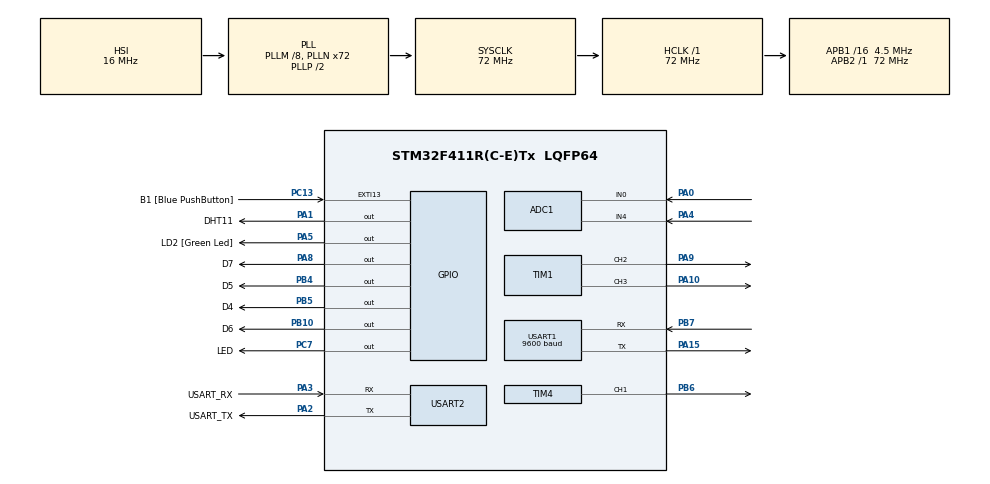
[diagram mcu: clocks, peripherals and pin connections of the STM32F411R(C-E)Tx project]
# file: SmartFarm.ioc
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ADC1.Channel-0\#ChannelRegularConversion=ADC_CHANNEL_0
ADC1.Channel-1\#ChannelRegularConversion=ADC_CHANNEL_4
ADC1.DiscontinuousConvMode=ENABLE
ADC1.NbrOfConversion=2
ADC1.NbrOfConversionFlag=1
ADC1.Rank-0\#ChannelRegularConversion=1
ADC1.Rank-1\#ChannelRegularConversion=2
ADC1.SamplingTime-0\#ChannelRegularConversion=ADC_SAMPLETIME_3CYCLES
ADC1.SamplingTime-1\#ChannelRegularConversion=ADC_SAMPLETIME_3CYCLES
ADC1.ScanConvMode=ENABLE
ADC1.master=1
Mcu.Family=STM32F4
Mcu.Name=STM32F411R(C-E)Tx
Mcu.Package=LQFP64
NVIC.PriorityGroup=NVIC_PRIORITYGROUP_0
NVIC.TIM3_IRQn=true\:0\:0\:false\:false\:true\:true\:true\:true
PA0-WKUP.Signal=ADCx_IN0
PA1.GPIO_Label=DHT11
PA1.Signal=GPIO_Output
PA10.Signal=S_TIM1_CH3
PA13.GPIO_Label=TMS
PA13.Mode=Serial_Wire
PA13.Signal=SYS_JTMS-SWDIO
PA14.GPIO_Label=TCK
PA14.Mode=Serial_Wire
PA14.Signal=SYS_JTCK-SWCLK
PA15.Mode=Asynchronous
PA15.Signal=USART1_TX
PA2.GPIO_Label=USART_TX
PA2.Mode=Asynchronous
PA2.Signal=USART2_TX
PA3.GPIO_Label=USART_RX
PA3.Mode=Asynchronous
PA3.Signal=USART2_RX
PA4.Signal=ADCx_IN4
PA5.GPIO_Label=LD2 [Green Led]
PA5.Signal=GPIO_Output
PA8.GPIO_Label=D7
PA8.Signal=GPIO_Output
PA9.Signal=S_TIM1_CH2
PB10.GPIO_Label=D6
PB10.Signal=GPIO_Output
PB3.GPIO_Label=SWO
PB3.Signal=SYS_JTDO-SWO
PB4.GPIO_Label=D5
PB4.Signal=GPIO_Output
PB5.GPIO_Label=D4
PB5.Signal=GPIO_Output
PB6.Signal=S_TIM4_CH1
PB7.Mode=Asynchronous
PB7.Signal=USART1_RX
PC13-ANTI_TAMP.GPIO_Label=B1 [Blue PushButton]
PC13-ANTI_TAMP.GPIO_ModeDefaultEXTI=GPIO_MODE_IT_FALLING
PC13-ANTI_TAMP.Signal=GPXTI13
PC14-OSC32_IN.Mode=LSE-External-Oscillator
PC14-OSC32_IN.Signal=RCC_OSC32_IN
PC15-OSC32_OUT.Mode=LSE-External-Oscillator
PC15-OSC32_OUT.Signal=RCC_OSC32_OUT
PC7.GPIO_Label=LED
PC7.Signal=GPIO_Output
PH0\ -\ OSC_IN.Mode=HSE-External-Clock-Source
PH0\ -\ OSC_IN.Signal=RCC_OSC_IN
PH1\ -\ OSC_OUT.Mode=HSE-External-Clock-Source
PH1\ -\ OSC_OUT.Signal=RCC_OSC_OUT
ProjectManager.HeapSize=0x200
ProjectManager.StackSize=0x400
ProjectManager.TargetToolchain=STM32CubeIDE
RCC.48MHZClocksFreq_Value=36000000
RCC.AHBFreq_Value=72000000
RCC.APB1CLKDivider=RCC_HCLK_DIV16
RCC.APB1Freq_Value=4500000
RCC.APB1TimFreq_Value=9000000
RCC.APB2Freq_Value=72000000
RCC.APB2TimFreq_Value=72000000
RCC.CortexFreq_Value=72000000
RCC.FLatency-AdvancedSettings=FLASH_LATENCY_2
RCC.HCLKFreq_Value=72000000
RCC.HSE_VALUE=8000000
RCC.HSI_VALUE=16000000
RCC.PLLM=8
RCC.PLLN=72
RCC.SYSCLKFreq_VALUE=72000000
RCC.SYSCLKSource=RCC_SYSCLKSOURCE_PLLCLK
RCC.VCOOutputFreq_Value=144000000
SH.ADCx_IN0.0=ADC1_IN0,IN0
SH.ADCx_IN4.0=ADC1_IN4,IN4
SH.S_TIM1_CH2.0=TIM1_CH2,PWM Generation2 CH2
SH.S_TIM1_CH3.0=TIM1_CH3,PWM Generation3 CH3
SH.S_TIM4_CH1.0=TIM4_CH1,PWM Generation1 CH1
TIM1.Channel-PWM\ Generation2\ CH2=TIM_CHANNEL_2
TIM1.Channel-PWM\ Generation3\ CH3=TIM_CHANNEL_3
TIM3.Period=10000-1
TIM3.Prescaler=0
TIM4.Channel-PWM\ Generation1\ CH1=TIM_CHANNEL_1
TIM4.Period=10000-1
TIM4.Prescaler=18-1
USART1.BaudRate=9600
USART1.VirtualMode=VM_ASYNC
USART2.VirtualMode=VM_ASYNC
VP_TIM3_VS_ClockSourceINT.Mode=Internal
VP_TIM4_VS_ClockSourceINT.Mode=Internal
board=NUCLEO-F411RE

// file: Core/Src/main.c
/* USER CODE BEGIN Header */
/**
  ******************************************************************************
  * @file           : main.c
  * @brief          : Main program body
  ******************************************************************************
  * @attention
  *
  * Copyright (c) 2024 STMicroelectronics.
  * All rights reserved.
  *
  * This software is licensed under terms that can be found in the LICENSE file
  * in the root directory of this software component.
  * If no LICENSE file comes with this software, it is provided AS-IS.
  *
  ******************************************************************************
  */
/* USER CODE END Header */
#include "main.h"

/* USER CODE BEGIN Includes */
#include "mylib.h"
#include "DHT.h"
#include <stdio.h>

/* USER CODE END Includes */

ADC_HandleTypeDef hadc1;

TIM_HandleTypeDef htim1;
TIM_HandleTypeDef htim3;
TIM_HandleTypeDef htim4;

UART_HandleTypeDef huart1;
UART_HandleTypeDef huart2;

/* USER CODE BEGIN PV */
volatile uint32_t soil_moisture_value = 0;
volatile uint32_t light_intensity_value = 0;
char dum[40];	//dum for sprintf
volatile int lux;  // Set lux as global variable

uint8_t rx1_data;
uint8_t rx2_data;

/* USER CODE END PV */

void SystemClock_Config(void);
static void MX_GPIO_Init(void);
static void MX_USART2_UART_Init(void);
static void MX_ADC1_Init(void);
static void MX_TIM3_Init(void);
static void MX_TIM4_Init(void);
static void MX_USART1_UART_Init(void);
static void MX_TIM1_Init(void);
/* USER CODE BEGIN PFP */
DHT_DataTypedef DHT11_Data;
float Temperature, Humidity;
int i=0;
float ground_humid = 0;

/* USER CODE END PFP */

/* USER CODE BEGIN 0 */
void send_data_via_bluetooth(void)
{
	char buffer[100];
	int len = snprintf(buffer, sizeof(buffer),
			"Temp: %.1f ['C]  Humid: %.1f [%%]\r\nGround_Humid: %.f [%%]\r\n Lux: %d [lx]"
			, Temperature, Humidity, ground_humid, lux);
	HAL_UART_Transmit(&huart1, (uint8_t *)buffer, len, HAL_MAX_DELAY);
}

/* USER CODE END 0 */

int main(void)
{

  /* MCU Configuration--------------------------------------------------------*/

  /* Reset of all peripherals, Initializes the Flash interface and the Systick. */
  HAL_Init();

  /* Configure the system clock */
  SystemClock_Config();

  /* Initialize all configured peripherals */
  MX_GPIO_Init();
  MX_USART2_UART_Init();
  MX_ADC1_Init();
  MX_TIM3_Init();
  MX_TIM4_Init();
  MX_USART1_UART_Init();
  MX_TIM1_Init();
  /* USER CODE BEGIN 2 */
  ProgramStart();

  HAL_TIM_Base_Start_IT(&htim3);// timer interrupt start
  HAL_TIM_PWM_Start(&htim1, TIM_CHANNEL_2);
  HAL_TIM_PWM_Start(&htim1, TIM_CHANNEL_3);
  HAL_TIM_PWM_Start(&htim4, TIM_CHANNEL_1);

  HAL_GPIO_WritePin(D6_GPIO_Port, D6_Pin, 0);
  HAL_GPIO_WritePin(D7_GPIO_Port, D7_Pin, 1);

  HAL_GPIO_WritePin(D4_GPIO_Port, D4_Pin, 1);
  HAL_GPIO_WritePin(D5_GPIO_Port, D5_Pin, 0);

  HAL_UART_Receive_IT(&huart1, &rx1_data, sizeof(rx1_data));
  HAL_UART_Receive_IT(&huart2, &rx2_data, sizeof(rx2_data));

  /* USER CODE END 2 */

  /* Infinite loop */
  /* USER CODE BEGIN WHILE */
  while (1)
  {
	  // DHT-11 Data Receive
	  DHT_GetData(&DHT11_Data);
	  Temperature = DHT11_Data.Temperature;
	  Humidity = DHT11_Data.Humidity;

	  if(Temperature > 25) {
		  htim1.Instance->CCR3 = 50000;		// Water Pump ON
	  }
	  else{
		  htim1.Instance->CCR3 = 0;			// Water Pump OFF
	  }

	  if(Humidity > 50)
	  {
		  //1ms Pwm - Servo motor arm rotates to 0 degree
		  __HAL_TIM_SetCompare(&htim4, TIM_CHANNEL_1, 630);		// open
	  }
	  else
	  {
		  __HAL_TIM_SetCompare(&htim4, TIM_CHANNEL_1, 1100);	// close
	  }

	  ground_humid = -((float)soil_moisture_value - 4095) * 100 / (4095 - 1095);
	  if(ground_humid <= 0)	// If value is negative.
	  {
		  ground_humid = 0;
	  }
	  else if(ground_humid < 40)
	  {
		  // Water Pump ON for 3s
		  htim1.Instance->CCR2 = 35000;
		  HAL_Delay(3000);
		  htim1.Instance->CCR2 = 0;
	  }
	  else {
		  // Water Pump does not work.
		  htim1.Instance->CCR2 = 0;
	  }

		soil_moisture_value = GetAdcValue();

		light_intensity_value = GetAdcValue();

		/* Process the LDR value */
		lux = Illuminance(light_intensity_value); // Update the global variable

		/* Print lux with UART */
		//sprintf(dum, "Light value : %d Lux \n\r", lux);
		HAL_UART_Transmit(&huart2, (uint8_t *)dum, strlen(dum), 1000);

		/* Using lux for LED control */
		if(lux <= 50) HAL_GPIO_WritePin(LED_GPIO_Port, LED_Pin, GPIO_PIN_SET);
		else HAL_GPIO_WritePin(LED_GPIO_Port, LED_Pin, GPIO_PIN_RESET);

    /* USER CODE END WHILE */

    /* USER CODE BEGIN 3 */
	  send_data_via_bluetooth();
	  HAL_Delay(1000);

	  /*
	  printf("토양습도:%.2f \r\n 변환이전 값: %.2f \r\n 조도값: %d\r\n", ground_humid, soil_moisture_value, lux);

	  i++;
	  	  printf("%d회 측정!\r\n",i);
	  	  printf("----- 온도 : %0.2f'C ----- \r\n", (float)Temperature);
	  	  printf("----- 습도 : %0.2f%%  ----- \r\n\r\n", (float)Humidity);

	  	  if(i >= 30)
	  	  {
	  		  printf("%d회 측정 초과로 횟수 초기화. \r\n", i);
	  		  i = 0;
	  	  }
	  	  */
  }
  /* USER CODE END 3 */
}

void SystemClock_Config(void)
{
  RCC_OscInitTypeDef RCC_OscInitStruct = {0};
  RCC_ClkInitTypeDef RCC_ClkInitStruct = {0};

  /** Configure the main internal regulator output voltage
  */
  __HAL_RCC_PWR_CLK_ENABLE();
  __HAL_PWR_VOLTAGESCALING_CONFIG(PWR_REGULATOR_VOLTAGE_SCALE1);

  /** Initializes the RCC Oscillators according to the specified parameters
  * in the RCC_OscInitTypeDef structure.
  */
  RCC_OscInitStruct.OscillatorType = RCC_OSCILLATORTYPE_HSI;
  RCC_OscInitStruct.HSIState = RCC_HSI_ON;
  RCC_OscInitStruct.HSICalibrationValue = RCC_HSICALIBRATION_DEFAULT;
  RCC_OscInitStruct.PLL.PLLState = RCC_PLL_ON;
  RCC_OscInitStruct.PLL.PLLSource = RCC_PLLSOURCE_HSI;
  RCC_OscInitStruct.PLL.PLLM = 8;
  RCC_OscInitStruct.PLL.PLLN = 72;
  RCC_OscInitStruct.PLL.PLLP = RCC_PLLP_DIV2;
  RCC_OscInitStruct.PLL.PLLQ = 4;
  if (HAL_RCC_OscConfig(&RCC_OscInitStruct) != HAL_OK)
  {
    Error_Handler();
  }

  /** Initializes the CPU, AHB and APB buses clocks
  */
  RCC_ClkInitStruct.ClockType = RCC_CLOCKTYPE_HCLK|RCC_CLOCKTYPE_SYSCLK
                              |RCC_CLOCKTYPE_PCLK1|RCC_CLOCKTYPE_PCLK2;
  RCC_ClkInitStruct.SYSCLKSource = RCC_SYSCLKSOURCE_PLLCLK;
  RCC_ClkInitStruct.AHBCLKDivider = RCC_SYSCLK_DIV1;
  RCC_ClkInitStruct.APB1CLKDivider = RCC_HCLK_DIV16;
  RCC_ClkInitStruct.APB2CLKDivider = RCC_HCLK_DIV1;

  if (HAL_RCC_ClockConfig(&RCC_ClkInitStruct, FLASH_LATENCY_2) != HAL_OK)
  {
    Error_Handler();
  }
}

static void MX_ADC1_Init(void)
{

  ADC_ChannelConfTypeDef sConfig = {0};

  /** Configure the global features of the ADC (Clock, Resolution, Data Alignment and number of conversion)
  */
  hadc1.Instance = ADC1;
  hadc1.Init.ClockPrescaler = ADC_CLOCK_SYNC_PCLK_DIV2;
  hadc1.Init.Resolution = ADC_RESOLUTION_12B;
  hadc1.Init.ScanConvMode = ENABLE;
  hadc1.Init.ContinuousConvMode = DISABLE;
  hadc1.Init.DiscontinuousConvMode = ENABLE;
  hadc1.Init.NbrOfDiscConversion = 1;
  hadc1.Init.ExternalTrigConvEdge = ADC_EXTERNALTRIGCONVEDGE_NONE;
  hadc1.Init.ExternalTrigConv = ADC_SOFTWARE_START;
  hadc1.Init.DataAlign = ADC_DATAALIGN_RIGHT;
  hadc1.Init.NbrOfConversion = 2;
  hadc1.Init.DMAContinuousRequests = DISABLE;
  hadc1.Init.EOCSelection = ADC_EOC_SINGLE_CONV;
  if (HAL_ADC_Init(&hadc1) != HAL_OK)
  {
    Error_Handler();
  }

  /** Configure for the selected ADC regular channel its corresponding rank in the sequencer and its sample time.
  */
  sConfig.Channel = ADC_CHANNEL_0;
  sConfig.Rank = 1;
  sConfig.SamplingTime = ADC_SAMPLETIME_3CYCLES;
  if (HAL_ADC_ConfigChannel(&hadc1, &sConfig) != HAL_OK)
  {
    Error_Handler();
  }

  /** Configure for the selected ADC regular channel its corresponding rank in the sequencer and its sample time.
  */
  sConfig.Channel = ADC_CHANNEL_4;
  sConfig.Rank = 2;
  if (HAL_ADC_ConfigChannel(&hadc1, &sConfig) != HAL_OK)
  {
    Error_Handler();
  }

}

static void MX_TIM1_Init(void)
{

  TIM_MasterConfigTypeDef sMasterConfig = {0};
  TIM_OC_InitTypeDef sConfigOC = {0};
  TIM_BreakDeadTimeConfigTypeDef sBreakDeadTimeConfig = {0};

  htim1.Instance = TIM1;
  htim1.Init.Prescaler = 0;
  htim1.Init.CounterMode = TIM_COUNTERMODE_UP;
  htim1.Init.Period = 65535;
  htim1.Init.ClockDivision = TIM_CLOCKDIVISION_DIV1;
  htim1.Init.RepetitionCounter = 0;
  htim1.Init.AutoReloadPreload = TIM_AUTORELOAD_PRELOAD_DISABLE;
  if (HAL_TIM_PWM_Init(&htim1) != HAL_OK)
  {
    Error_Handler();
  }
  sMasterConfig.MasterOutputTrigger = TIM_TRGO_RESET;
  sMasterConfig.MasterSlaveMode = TIM_MASTERSLAVEMODE_DISABLE;
  if (HAL_TIMEx_MasterConfigSynchronization(&htim1, &sMasterConfig) != HAL_OK)
  {
    Error_Handler();
  }
  sConfigOC.OCMode = TIM_OCMODE_PWM1;
  sConfigOC.Pulse = 0;
  sConfigOC.OCPolarity = TIM_OCPOLARITY_HIGH;
  sConfigOC.OCNPolarity = TIM_OCNPOLARITY_HIGH;
  sConfigOC.OCFastMode = TIM_OCFAST_DISABLE;
  sConfigOC.OCIdleState = TIM_OCIDLESTATE_RESET;
  sConfigOC.OCNIdleState = TIM_OCNIDLESTATE_RESET;
  if (HAL_TIM_PWM_ConfigChannel(&htim1, &sConfigOC, TIM_CHANNEL_2) != HAL_OK)
  {
    Error_Handler();
  }
  if (HAL_TIM_PWM_ConfigChannel(&htim1, &sConfigOC, TIM_CHANNEL_3) != HAL_OK)
  {
    Error_Handler();
  }
  sBreakDeadTimeConfig.OffStateRunMode = TIM_OSSR_DISABLE;
  sBreakDeadTimeConfig.OffStateIDLEMode = TIM_OSSI_DISABLE;
  sBreakDeadTimeConfig.LockLevel = TIM_LOCKLEVEL_OFF;
  sBreakDeadTimeConfig.DeadTime = 0;
  sBreakDeadTimeConfig.BreakState = TIM_BREAK_DISABLE;
  sBreakDeadTimeConfig.BreakPolarity = TIM_BREAKPOLARITY_HIGH;
  sBreakDeadTimeConfig.AutomaticOutput = TIM_AUTOMATICOUTPUT_DISABLE;
  if (HAL_TIMEx_ConfigBreakDeadTime(&htim1, &sBreakDeadTimeConfig) != HAL_OK)
  {
    Error_Handler();
  }
  HAL_TIM_MspPostInit(&htim1);

}

static void MX_TIM3_Init(void)
{

  TIM_ClockConfigTypeDef sClockSourceConfig = {0};
  TIM_MasterConfigTypeDef sMasterConfig = {0};

  htim3.Instance = TIM3;
  htim3.Init.Prescaler = 0;
  htim3.Init.CounterMode = TIM_COUNTERMODE_UP;
  htim3.Init.Period = 10000-1;
  htim3.Init.ClockDivision = TIM_CLOCKDIVISION_DIV1;
  htim3.Init.AutoReloadPreload = TIM_AUTORELOAD_PRELOAD_DISABLE;
  if (HAL_TIM_Base_Init(&htim3) != HAL_OK)
  {
    Error_Handler();
  }
  sClockSourceConfig.ClockSource = TIM_CLOCKSOURCE_INTERNAL;
  if (HAL_TIM_ConfigClockSource(&htim3, &sClockSourceConfig) != HAL_OK)
  {
    Error_Handler();
  }
  sMasterConfig.MasterOutputTrigger = TIM_TRGO_RESET;
  sMasterConfig.MasterSlaveMode = TIM_MASTERSLAVEMODE_DISABLE;
  if (HAL_TIMEx_MasterConfigSynchronization(&htim3, &sMasterConfig) != HAL_OK)
  {
    Error_Handler();
  }

}

static void MX_TIM4_Init(void)
{

  TIM_ClockConfigTypeDef sClockSourceConfig = {0};
  TIM_MasterConfigTypeDef sMasterConfig = {0};
  TIM_OC_InitTypeDef sConfigOC = {0};

  htim4.Instance = TIM4;
  htim4.Init.Prescaler = 18-1;
  htim4.Init.CounterMode = TIM_COUNTERMODE_UP;
  htim4.Init.Period = 10000-1;
  htim4.Init.ClockDivision = TIM_CLOCKDIVISION_DIV1;
  htim4.Init.AutoReloadPreload = TIM_AUTORELOAD_PRELOAD_DISABLE;
  if (HAL_TIM_Base_Init(&htim4) != HAL_OK)
  {
    Error_Handler();
  }
  sClockSourceConfig.ClockSource = TIM_CLOCKSOURCE_INTERNAL;
  if (HAL_TIM_ConfigClockSource(&htim4, &sClockSourceConfig) != HAL_OK)
  {
    Error_Handler();
  }
  if (HAL_TIM_PWM_Init(&htim4) != HAL_OK)
  {
    Error_Handler();
  }
  sMasterConfig.MasterOutputTrigger = TIM_TRGO_RESET;
  sMasterConfig.MasterSlaveMode = TIM_MASTERSLAVEMODE_DISABLE;
  if (HAL_TIMEx_MasterConfigSynchronization(&htim4, &sMasterConfig) != HAL_OK)
  {
    Error_Handler();
  }
  sConfigOC.OCMode = TIM_OCMODE_PWM1;
  sConfigOC.Pulse = 0;
  sConfigOC.OCPolarity = TIM_OCPOLARITY_HIGH;
  sConfigOC.OCFastMode = TIM_OCFAST_DISABLE;
  if (HAL_TIM_PWM_ConfigChannel(&htim4, &sConfigOC, TIM_CHANNEL_1) != HAL_OK)
  {
    Error_Handler();
  }
  HAL_TIM_MspPostInit(&htim4);

}

static void MX_USART1_UART_Init(void)
{

  huart1.Instance = USART1;
  huart1.Init.BaudRate = 9600;
  huart1.Init.WordLength = UART_WORDLENGTH_8B;
  huart1.Init.StopBits = UART_STOPBITS_1;
  huart1.Init.Parity = UART_PARITY_NONE;
  huart1.Init.Mode = UART_MODE_TX_RX;
  huart1.Init.HwFlowCtl = UART_HWCONTROL_NONE;
  huart1.Init.OverSampling = UART_OVERSAMPLING_16;
  if (HAL_UART_Init(&huart1) != HAL_OK)
  {
    Error_Handler();
  }

}

static void MX_USART2_UART_Init(void)
{

  huart2.Instance = USART2;
  huart2.Init.BaudRate = 115200;
  huart2.Init.WordLength = UART_WORDLENGTH_8B;
  huart2.Init.StopBits = UART_STOPBITS_1;
  huart2.Init.Parity = UART_PARITY_NONE;
  huart2.Init.Mode = UART_MODE_TX_RX;
  huart2.Init.HwFlowCtl = UART_HWCONTROL_NONE;
  huart2.Init.OverSampling = UART_OVERSAMPLING_16;
  if (HAL_UART_Init(&huart2) != HAL_OK)
  {
    Error_Handler();
  }

}

static void MX_GPIO_Init(void)
{
  GPIO_InitTypeDef GPIO_InitStruct = {0};

  /* GPIO Ports Clock Enable */
  __HAL_RCC_GPIOC_CLK_ENABLE();
  __HAL_RCC_GPIOH_CLK_ENABLE();
  __HAL_RCC_GPIOA_CLK_ENABLE();
  __HAL_RCC_GPIOB_CLK_ENABLE();

  /*Configure GPIO pin Output Level */
  HAL_GPIO_WritePin(GPIOA, DHT11_Pin|LD2_Pin|D7_Pin, GPIO_PIN_RESET);

  /*Configure GPIO pin Output Level */
  HAL_GPIO_WritePin(GPIOB, D6_Pin|D5_Pin|D4_Pin, GPIO_PIN_RESET);

  /*Configure GPIO pin Output Level */
  HAL_GPIO_WritePin(LED_GPIO_Port, LED_Pin, GPIO_PIN_RESET);

  /*Configure GPIO pin : B1_Pin */
  GPIO_InitStruct.Pin = B1_Pin;
  GPIO_InitStruct.Mode = GPIO_MODE_IT_FALLING;
  GPIO_InitStruct.Pull = GPIO_NOPULL;
  HAL_GPIO_Init(B1_GPIO_Port, &GPIO_InitStruct);

  /*Configure GPIO pins : DHT11_Pin LD2_Pin D7_Pin */
  GPIO_InitStruct.Pin = DHT11_Pin|LD2_Pin|D7_Pin;
  GPIO_InitStruct.Mode = GPIO_MODE_OUTPUT_PP;
  GPIO_InitStruct.Pull = GPIO_NOPULL;
  GPIO_InitStruct.Speed = GPIO_SPEED_FREQ_LOW;
  HAL_GPIO_Init(GPIOA, &GPIO_InitStruct);

  /*Configure GPIO pins : D6_Pin D5_Pin D4_Pin */
  GPIO_InitStruct.Pin = D6_Pin|D5_Pin|D4_Pin;
  GPIO_InitStruct.Mode = GPIO_MODE_OUTPUT_PP;
  GPIO_InitStruct.Pull = GPIO_NOPULL;
  GPIO_InitStruct.Speed = GPIO_SPEED_FREQ_LOW;
  HAL_GPIO_Init(GPIOB, &GPIO_InitStruct);

  /*Configure GPIO pin : LED_Pin */
  GPIO_InitStruct.Pin = LED_Pin;
  GPIO_InitStruct.Mode = GPIO_MODE_OUTPUT_PP;
  GPIO_InitStruct.Pull = GPIO_NOPULL;
  GPIO_InitStruct.Speed = GPIO_SPEED_FREQ_LOW;
  HAL_GPIO_Init(LED_GPIO_Port, &GPIO_InitStruct);

}

void Error_Handler(void)
{
  __disable_irq();
  while (1)
  {
  }
}
